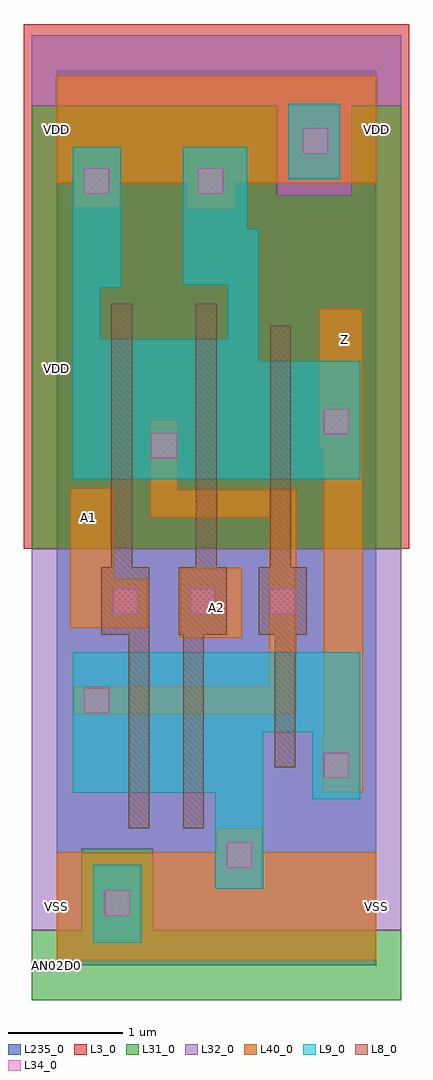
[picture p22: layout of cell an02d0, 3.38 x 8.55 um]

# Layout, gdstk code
import gdstk
lib = gdstk.Library(unit=1e-6, precision=1e-09)
def R(c, l, rs):  # rectangles x0, y0, x1, y1
    for r in rs: c.add(gdstk.rectangle(r[:2], r[2:], *l))
def P(c, l, *ps):  # polygons
    for p in ps: c.add(gdstk.Polygon(p, *l))
L3_0 = (3, 0)
L8_0 = (8, 0)
L9_0 = (9, 0)
L31_0 = (31, 0)
L32_0 = (32, 0)
L34_0 = (34, 0)
L40_0 = (40, 0)
L235_0 = (235, 0)

an02d0 = lib.new_cell('an02d0')
R(an02d0, L3_0, [(-0.29,3.65,3.09,8.245)])
P(an02d0, L8_0, [(1.29,2.895),(1.49,2.895),(1.49,3.485),(1.4,3.485),(1.4,5.795),(1.22,5.795),(1.22,3.485),(1.07,3.485),(1.07,2.895),(1.11,2.895),(1.11,1.2),(1.29,1.2)],
  [(0.81,3.485),(0.66,3.485),(0.66,5.795),(0.48,5.795),(0.48,3.485),(0.39,3.485),(0.39,2.895),(0.63,2.895),(0.63,1.2),(0.81,1.2)],
  [(2.09,2.895),(2.19,2.895),(2.19,3.485),(2.05,3.485),(2.05,5.6),(1.87,5.6),(1.87,3.485),(1.77,3.485),(1.77,2.895),(1.91,2.895),(1.91,1.735),(2.09,1.735)])
R(an02d0, L9_0, [(0.32,0.195,0.74,0.88), (2.03,6.885,2.48,7.545)])
P(an02d0, L9_0, [(2.66,2.74),(2.66,1.455),(2.24,1.455),(2.24,2.04),(1.81,2.04),(1.81,0.67),(1.39,0.67),(1.39,1.51),(0.14,1.51),(0.14,2.74)],
  [(1.67,7.165),(1.67,6.45),(1.77,6.45),(1.77,5.29),(2.66,5.29),(2.66,4.255),(0.14,4.255),(0.14,7.165),(0.56,7.165),(0.56,5.935),(0.38,5.935),(0.38,5.485),(1.5,5.485),(1.5,5.96),(1.11,5.96),(1.11,7.165)])
P(an02d0, L31_0, [(0.84,1.02),(0.84,0.305),(3.02,0.305),(3.02,-0.305),(-0.22,-0.305),(-0.22,0.305),(0.22,0.305),(0.22,1.02)],
  [(3.02,7.53),(3.02,3.65),(-0.22,3.65),(-0.22,7.53),(1.93,7.53),(1.93,6.745),(2.58,6.745),(2.58,7.53)])
P(an02d0, L32_0, [(3.02,3.65),(3.02,0.305),(0.84,0.305),(0.84,1.02),(0.22,1.02),(0.22,0.305),(-0.22,0.305),(-0.22,3.65)],
  [(3.02,8.145),(3.02,7.53),(2.58,7.53),(2.58,6.745),(1.93,6.745),(1.93,7.53),(-0.22,7.53),(-0.22,8.145)])
R(an02d0, L34_0, [(0.42,0.435,0.64,0.655), (1.49,0.855,1.71,1.075), (2.34,1.64,2.56,1.86), (0.24,2.21,0.46,2.43), (0.49,3.08,0.71,3.3), (1.17,3.08,1.39,3.3), (1.87,3.08,2.09,3.3), (0.83,4.44,1.05,4.66), (2.34,4.65,2.56,4.87), (0.24,6.76,0.46,6.98), (1.24,6.76,1.46,6.98), (2.16,7.11,2.38,7.33)])
R(an02d0, L40_0, [(1.08,2.87,1.62,3.48)])
P(an02d0, L40_0, [(0,6.85),(0.15,6.85),(0.15,6.64),(0.55,6.64),(0.55,6.85),(1.14,6.85),(1.14,6.625),(1.56,6.625),(1.56,6.85),(2.8,6.85),(2.8,7.79),(0,7.79)],
  [(2.3,4.525),(2.34,4.525),(2.34,1.98),(2.33,1.98),(2.33,1.515),(2.68,1.515),(2.68,5.75),(2.3,5.75)],
  [(1.06,4.78),(0.82,4.78),(0.82,3.92),(1.86,3.92),(1.86,2.445),(0.15,2.445),(0.15,2.2),(2.1,2.2),(2.1,4.165),(1.06,4.165)],
  [(0.12,4.18),(0.12,2.955),(0.8,2.955),(0.8,3.38),(0.5,3.38),(0.5,4.18)],
  [(1.4,1.2),(1.4,0.99),(0,0.99),(0,0.045),(2.8,0.045),(2.8,0.99),(1.8,0.99),(1.8,1.2)])
R(an02d0, L235_0, [(0,0,2.8,7.84)])
an02d0.add(gdstk.Label('VDD', (0,5.23), layer=40, texttype=7))
an02d0.add(gdstk.Label('VDD', (0,5.23), layer=40, texttype=7))
an02d0.add(gdstk.Label('VDD', (0,5.23), layer=40, texttype=7))
an02d0.add(gdstk.Label('VDD', (0,5.23), layer=40, texttype=7))
an02d0.add(gdstk.Label('VDD', (0,5.23), layer=40, texttype=7))
an02d0.add(gdstk.Label('Copyright (c) 2003, 2004 Synopsys, Inc.', (0,-2.24), layer=96, texttype=0))
an02d0.add(gdstk.Label('DT. 10-Sep-2002 16:35:10', (0,-1.68), layer=96, texttype=0))
an02d0.add(gdstk.Label('Rev. 1', (0,-1.12), layer=96, texttype=0))
an02d0.add(gdstk.Label('2-INPUT AND, 0.5X DRIVE', (0,-0.56), layer=96, texttype=0))
an02d0.add(gdstk.Label('AN02D0', (0,0), layer=96, texttype=0))
an02d0.add(gdstk.Label('Z', (2.52,5.485), layer=40, texttype=7))
an02d0.add(gdstk.Label('A1', (0.28,3.92), layer=40, texttype=7))
an02d0.add(gdstk.Label('A2', (1.4,3.135), layer=40, texttype=7))
an02d0.add(gdstk.Label('VSS', (2.8,0.515), layer=40, texttype=7))
an02d0.add(gdstk.Label('VDD', (2.8,7.32), layer=40, texttype=7))
an02d0.add(gdstk.Label('VSS', (0,0.515), layer=40, texttype=7))
an02d0.add(gdstk.Label('VDD', (0,7.32), layer=40, texttype=7))

lib.write_gds('an02d0.gds')
